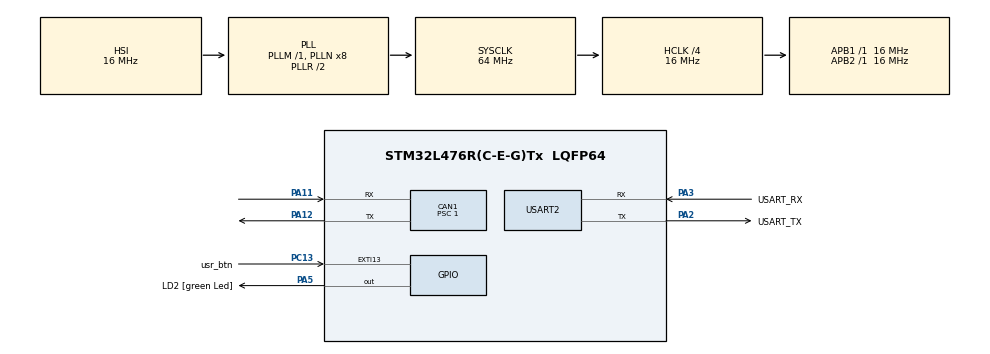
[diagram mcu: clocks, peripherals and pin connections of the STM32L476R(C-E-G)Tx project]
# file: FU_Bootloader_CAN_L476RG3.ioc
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CAN1.BS1=CAN_BS1_11TQ
CAN1.BS2=CAN_BS2_4TQ
CAN1.CalculateBaudRate=1000000
CAN1.CalculateTimeBit=1000
CAN1.CalculateTimeQuantum=62.5
CAN1.Mode=CAN_MODE_NORMAL
CAN1.Prescaler=1
Mcu.Family=STM32L4
Mcu.Name=STM32L476R(C-E-G)Tx
Mcu.Package=LQFP64
NVIC.CAN1_RX0_IRQn=true\:0\:0\:false\:false\:true\:true\:true\:true
NVIC.EXTI15_10_IRQn=true\:0\:0\:false\:false\:true\:true\:true\:true
NVIC.PriorityGroup=NVIC_PRIORITYGROUP_4
PA11.Mode=CAN_Activate
PA11.Signal=CAN1_RX
PA12.Mode=CAN_Activate
PA12.Signal=CAN1_TX
PA13\ (JTMS-SWDIO).GPIO_Label=TMS
PA13\ (JTMS-SWDIO).Mode=Serial_Wire
PA13\ (JTMS-SWDIO).Signal=SYS_JTMS-SWDIO
PA14\ (JTCK-SWCLK).GPIO_Label=TCK
PA14\ (JTCK-SWCLK).Mode=Serial_Wire
PA14\ (JTCK-SWCLK).Signal=SYS_JTCK-SWCLK
PA2.GPIO_Label=USART_TX
PA2.GPIO_Mode=GPIO_MODE_AF_PP
PA2.GPIO_PuPd=GPIO_NOPULL
PA2.GPIO_Speed=GPIO_SPEED_FREQ_VERY_HIGH
PA2.Mode=Asynchronous
PA2.Signal=USART2_TX
PA3.GPIO_Label=USART_RX
PA3.GPIO_Mode=GPIO_MODE_AF_PP
PA3.GPIO_PuPd=GPIO_NOPULL
PA3.GPIO_Speed=GPIO_SPEED_FREQ_VERY_HIGH
PA3.Mode=Asynchronous
PA3.Signal=USART2_RX
PA5.GPIO_Label=LD2 [green Led]
PA5.GPIO_ModeDefaultOutputPP=GPIO_MODE_OUTPUT_PP
PA5.GPIO_PuPd=GPIO_NOPULL
PA5.GPIO_Speed=GPIO_SPEED_FREQ_LOW
PA5.Signal=GPIO_Output
PB3\ (JTDO-TRACESWO).GPIO_Label=SWO
PB3\ (JTDO-TRACESWO).Signal=SYS_JTDO-SWO
PC13.GPIO_Label=usr_btn
PC13.GPIO_ModeDefaultEXTI=GPIO_MODE_IT_FALLING
PC13.GPIO_PuPd=GPIO_NOPULL
PC13.Signal=GPXTI13
PC14-OSC32_IN\ (PC14).Mode=LSE-External-Clock-Source
PC14-OSC32_IN\ (PC14).Signal=RCC_OSC32_IN
PC15-OSC32_OUT\ (PC15).Signal=RCC_OSC32_OUT
PH0-OSC_IN\ (PH0).Mode=HSE-External-Oscillator
PH0-OSC_IN\ (PH0).Signal=RCC_OSC_IN
PH1-OSC_OUT\ (PH1).Mode=HSE-External-Oscillator
PH1-OSC_OUT\ (PH1).Signal=RCC_OSC_OUT
ProjectManager.HeapSize=0x200
ProjectManager.StackSize=0x400
ProjectManager.TargetToolchain=STM32CubeIDE
RCC.ADCFreq_Value=64000000
RCC.AHBCLKDivider=RCC_SYSCLK_DIV4
RCC.AHBFreq_Value=16000000
RCC.APB1Freq_Value=16000000
RCC.APB1TimFreq_Value=16000000
RCC.APB2Freq_Value=16000000
RCC.APB2TimFreq_Value=16000000
RCC.CortexFreq_Value=16000000
RCC.HCLKFreq_Value=16000000
RCC.HSE_VALUE=32000000
RCC.HSI_VALUE=16000000
RCC.LSE_VALUE=32768
RCC.MSI_VALUE=4000000
RCC.PLLSourceVirtual=RCC_PLLSOURCE_HSI
RCC.PREFETCH_ENABLE=1
RCC.SYSCLKFreq_VALUE=64000000
RCC.SYSCLKSource=RCC_SYSCLKSOURCE_PLLCLK
RCC.USBFreq_Value=64000000
RCC.VCOOutputFreq_Value=128000000
USART2.VirtualMode-Asynchronous=VM_ASYNC
board=NUCLEO-L476RG

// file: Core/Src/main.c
/* USER CODE BEGIN Header */
/**
 ******************************************************************************
 * @file           : main.c
 * @brief          : Main program body
 ******************************************************************************
 * @attention
 *
 * Copyright (c) 2023 STMicroelectronics.
 * All rights reserved.
 *
 * This software is licensed under terms that can be found in the LICENSE file
 * in the root directory of this software component.
 * If no LICENSE file comes with this software, it is provided AS-IS.
 *
 ******************************************************************************
 */
/* USER CODE END Header */

#include <FU_Bootloader_CAN.h>
#include "main.h"

CAN_HandleTypeDef hcan1;

UART_HandleTypeDef huart2;

/* USER CODE BEGIN PV */

#define MAJOR 0  // Major Version Number
#define MINOR 1  // Minor Version Number
const uint8_t BL_Version[2] = { MAJOR, MINOR };

uint8_t printBuffer[50];
/* USER CODE END PV */

void SystemClock_Config(void);
static void MX_GPIO_Init(void);
static void MX_USART2_UART_Init(void);
static void MX_CAN1_Init(void);

/* USER CODE BEGIN 0 */
void go2app() {
//	printf("Going to Application \n");
	void (*jumpToApp)(
			void)= (void*) (*(volatile uint32_t *)(APP1_FLASH_ADDR +4));
	HAL_GPIO_WritePin(LD2_GPIO_Port, LD2_Pin, 0);

	jumpToApp();	//call the application reset handler
}

void myprintf(const char *str) {
	HAL_UART_Transmit(&huart2, (uint8_t*) str, strlen(str),200);
}

/* USER CODE END 0 */

int main(void) {

	/* MCU Configuration--------------------------------------------------------*/

	/* Reset of all peripherals, Initializes the Flash interface and the Systick. */
   	HAL_Init();

	/* Configure the system clock */
	SystemClock_Config();

	/* Initialize all configured peripherals */
	MX_GPIO_Init();
	MX_USART2_UART_Init();
	MX_CAN1_Init();
	/* USER CODE BEGIN 2 */

//	TxHeader.DLC = sizeof(TxData);          //specify the data length to be sent
//	TxHeader.IDE = CAN_ID_EXT;   //standard id 8 bits
//	TxHeader.RTR = CAN_RTR_DATA;
//	TxHeader.ExtId = 0x1AD6AF1F;      //tx msg id

	snprintf((char*) printBuffer, sizeof(printBuffer),
			"Starting Bootloader v%d.%d\n", BL_Version[0], BL_Version[1]);
	myprintf((char*) printBuffer);
	HAL_GPIO_WritePin(LD2_GPIO_Port, LD2_Pin, 1); // Turn the BL indicator ON
	myprintf("Press user button for  OTA update mode..\n");
	uint32_t waitTime_start = HAL_GetTick();
	uint8_t OTA_Pin_state = 0;
	// Check if user presses OTA update mode button, wait for 4 secs
	do {
		OTA_Pin_state = HAL_GPIO_ReadPin(usr_btn_GPIO_Port, usr_btn_Pin);
	} while (HAL_GetTick() - waitTime_start < 4000 && OTA_Pin_state == 1);

	if (OTA_Pin_state == 0) {
		myprintf("Starting OTA Update!!\r\n");
		OTA_update();
	}

	go2app();
	/* USER CODE END 2 */

	/* Infinite loop */
	while (1) {

		/* USER CODE BEGIN 3 */
//		if (HAL_CAN_AddTxMessage(&hcan1, &TxHeader, TxData, &TxMailbox) == 0) {
//			HAL_GPIO_TogglePin(LD2_GPIO_Port, LD2_Pin);
//			txCount++;
//		}
//		HAL_Delay(100);
	}
	/* USER CODE END 3 */
}

void SystemClock_Config(void) {
	RCC_OscInitTypeDef RCC_OscInitStruct = { 0 };
	RCC_ClkInitTypeDef RCC_ClkInitStruct = { 0 };

	/** Configure the main internal regulator output voltage
	 */
	if (HAL_PWREx_ControlVoltageScaling(PWR_REGULATOR_VOLTAGE_SCALE1)
			!= HAL_OK) {
		Error_Handler();
	}

	/** Initializes the RCC Oscillators according to the specified parameters
	 * in the RCC_OscInitTypeDef structure.
	 */
	RCC_OscInitStruct.OscillatorType = RCC_OSCILLATORTYPE_HSI;
	RCC_OscInitStruct.HSIState = RCC_HSI_ON;
	RCC_OscInitStruct.HSICalibrationValue = RCC_HSICALIBRATION_DEFAULT;
	RCC_OscInitStruct.PLL.PLLState = RCC_PLL_ON;
	RCC_OscInitStruct.PLL.PLLSource = RCC_PLLSOURCE_HSI;
	RCC_OscInitStruct.PLL.PLLM = 1;
	RCC_OscInitStruct.PLL.PLLN = 8;
	RCC_OscInitStruct.PLL.PLLP = RCC_PLLP_DIV7;
	RCC_OscInitStruct.PLL.PLLQ = RCC_PLLQ_DIV2;
	RCC_OscInitStruct.PLL.PLLR = RCC_PLLR_DIV2;
	if (HAL_RCC_OscConfig(&RCC_OscInitStruct) != HAL_OK) {
		Error_Handler();
	}

	/** Initializes the CPU, AHB and APB buses clocks
	 */
	RCC_ClkInitStruct.ClockType = RCC_CLOCKTYPE_HCLK | RCC_CLOCKTYPE_SYSCLK
			| RCC_CLOCKTYPE_PCLK1 | RCC_CLOCKTYPE_PCLK2;
	RCC_ClkInitStruct.SYSCLKSource = RCC_SYSCLKSOURCE_PLLCLK;
	RCC_ClkInitStruct.AHBCLKDivider = RCC_SYSCLK_DIV4;
	RCC_ClkInitStruct.APB1CLKDivider = RCC_HCLK_DIV1;
	RCC_ClkInitStruct.APB2CLKDivider = RCC_HCLK_DIV1;

	if (HAL_RCC_ClockConfig(&RCC_ClkInitStruct, FLASH_LATENCY_0) != HAL_OK) {
		Error_Handler();
	}
}

static void MX_CAN1_Init(void) {

	hcan1.Instance = CAN1;
	hcan1.Init.Prescaler = 1;
	hcan1.Init.Mode = CAN_MODE_NORMAL;
	hcan1.Init.SyncJumpWidth = CAN_SJW_1TQ;
	hcan1.Init.TimeSeg1 = CAN_BS1_11TQ;
	hcan1.Init.TimeSeg2 = CAN_BS2_4TQ;
	hcan1.Init.TimeTriggeredMode = DISABLE;
	hcan1.Init.AutoBusOff = DISABLE;
	hcan1.Init.AutoWakeUp = DISABLE;
	hcan1.Init.AutoRetransmission = DISABLE;
	hcan1.Init.ReceiveFifoLocked = DISABLE;
	hcan1.Init.TransmitFifoPriority = DISABLE;
	if (HAL_CAN_Init(&hcan1) != HAL_OK) {
		Error_Handler();
	}
	/* USER CODE BEGIN CAN1_Init 2 */
	CAN_FilterTypeDef canfilterconfig;

	canfilterconfig.FilterActivation = CAN_FILTER_ENABLE;
	canfilterconfig.FilterBank = 10; // which filter bank to use from the assigned ones
	canfilterconfig.FilterFIFOAssignment = CAN_FILTER_FIFO0;
	canfilterconfig.FilterIdHigh = 0;  //will just receive 0x103 address mssg
	canfilterconfig.FilterIdLow = 0;
	canfilterconfig.FilterMaskIdHigh = 0;
	canfilterconfig.FilterMaskIdLow = 0;
	canfilterconfig.FilterMode = CAN_FILTERMODE_IDMASK;
	canfilterconfig.FilterScale = CAN_FILTERSCALE_32BIT;
	canfilterconfig.SlaveStartFilterBank = 0; // how many filters to assign to the CAN1 (master can)

	HAL_CAN_ConfigFilter(&hcan1, &canfilterconfig);
	/* USER CODE END CAN1_Init 2 */

}

static void MX_USART2_UART_Init(void) {

	huart2.Instance = USART2;
	huart2.Init.BaudRate = 115200;
	huart2.Init.WordLength = UART_WORDLENGTH_8B;
	huart2.Init.StopBits = UART_STOPBITS_1;
	huart2.Init.Parity = UART_PARITY_NONE;
	huart2.Init.Mode = UART_MODE_TX_RX;
	huart2.Init.HwFlowCtl = UART_HWCONTROL_NONE;
	huart2.Init.OverSampling = UART_OVERSAMPLING_16;
	huart2.Init.OneBitSampling = UART_ONE_BIT_SAMPLE_DISABLE;
	huart2.AdvancedInit.AdvFeatureInit = UART_ADVFEATURE_NO_INIT;
	if (HAL_UART_Init(&huart2) != HAL_OK) {
		Error_Handler();
	}

}

static void MX_GPIO_Init(void) {
	GPIO_InitTypeDef GPIO_InitStruct = { 0 };

	/* GPIO Ports Clock Enable */
	__HAL_RCC_GPIOC_CLK_ENABLE();
	__HAL_RCC_GPIOH_CLK_ENABLE();
	__HAL_RCC_GPIOA_CLK_ENABLE();
	__HAL_RCC_GPIOB_CLK_ENABLE();

	/*Configure GPIO pin Output Level */
	HAL_GPIO_WritePin(LD2_GPIO_Port, LD2_Pin, GPIO_PIN_RESET);

	/*Configure GPIO pin : usr_btn_Pin */
	GPIO_InitStruct.Pin = usr_btn_Pin;
	GPIO_InitStruct.Mode = GPIO_MODE_IT_FALLING;
	GPIO_InitStruct.Pull = GPIO_NOPULL;
	HAL_GPIO_Init(usr_btn_GPIO_Port, &GPIO_InitStruct);

	/*Configure GPIO pin : LD2_Pin */
	GPIO_InitStruct.Pin = LD2_Pin;
	GPIO_InitStruct.Mode = GPIO_MODE_OUTPUT_PP;
	GPIO_InitStruct.Pull = GPIO_NOPULL;
	GPIO_InitStruct.Speed = GPIO_SPEED_FREQ_LOW;
	HAL_GPIO_Init(LD2_GPIO_Port, &GPIO_InitStruct);

	/* EXTI interrupt init*/
	HAL_NVIC_SetPriority(EXTI15_10_IRQn, 0, 0);
	HAL_NVIC_EnableIRQ(EXTI15_10_IRQn);

}

void Error_Handler(void) {
	__disable_irq();
	while (1) {
	}
}
